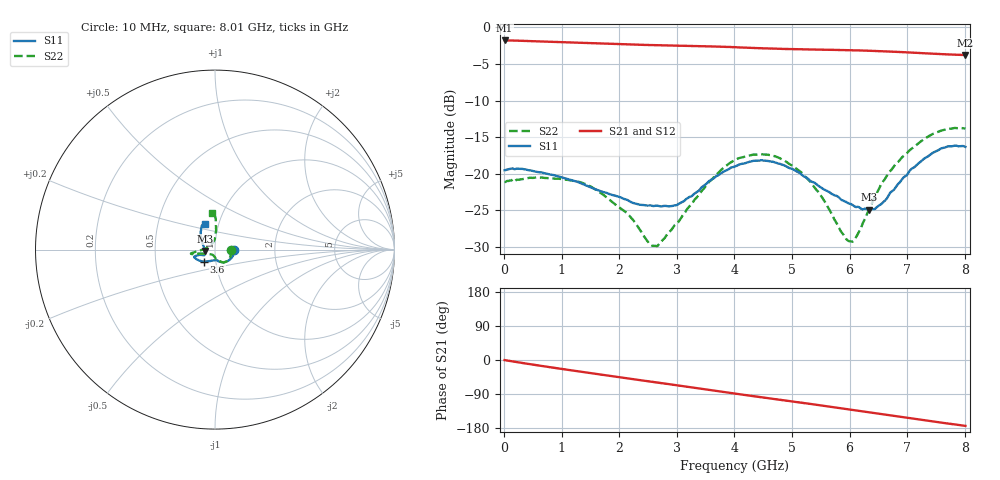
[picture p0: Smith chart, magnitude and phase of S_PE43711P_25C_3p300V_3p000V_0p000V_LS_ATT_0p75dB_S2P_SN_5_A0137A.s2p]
! Device ID: PE43711P
! File Path: z:\PE43711P\CHAR_NOM_04282014\AMB\3p300\LS_ATT_0p75dB\PE43711P_AMB_3p300V_3p000V_0p000V_LS_ATT_0p75dB_S2P_SN_5_A0137A.s2p
! Serial: 5
! Lot: A0137A
! Temp: 25C
! VDD: 3.300
! VSS: 0.000
! Control_Hi: 3.000
! Control_Lo: 0.000
! Attenuation Step: 0.75dB
! Port 1: RF1
! Port 2: RF2
! ThroughPath:1-2
! IDD: 0.0001272231
! ISS: -1.744e-007
#  Hz  S  RI  R  50
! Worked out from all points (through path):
!   801 points, 10 MHz to 8.01 GHz, reference 50 ohm
!   highest |S21| = -1.78 dB at 10 MHz (marker M1); lowest = -3.8 dB at 8.01 GHz (marker M2)
!   group delay of S21, straight-line fit = 59.8 ps
!   lowest |S11| = -24.9 dB at 6.34 GHz (marker M3), VSWR 1.12, Z = 44.7 - j0.742 ohm
!   |S11| at or under -10 dB: start of sweep to end of sweep
!   |S22| runs from -29.9 to -13.7 dB; largest |S21 - S12| = 0.0011
!   S11 on the Smith chart (normalised r, x): 10 MHz: 1.24, -0.00; 3.6 GHz: 0.88, -0.12; 8.01 GHz: 0.86, +0.25
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1e7  0.1056 -0.00058  0.8148 -0.00402  0.815 -0.00414  0.0878 -0.000727
5.7e8  0.093 -0.0443  0.78 -0.1917  0.7801 -0.1917  0.0836 -0.0437
1.35e9  0.0485 -0.0703  0.6701 -0.4072  0.6702 -0.4072  0.0483 -0.0723
2.12e9  0.0175 -0.0642  0.5125 -0.5697  0.5127 -0.5699  0.00625 -0.054
2.54e9  0.0107 -0.0598  0.4136 -0.6353  0.4139 -0.6355  -0.00953 -0.0314
2.68e9  0.00643 -0.0599  0.3794 -0.6539  0.3797 -0.6543  -0.0181 -0.0271
3.02e9  -0.0124 -0.0605  0.2914 -0.6924  0.2916 -0.693  -0.0395 -0.0243
3.6e9  -0.0614 -0.0669  0.1318 -0.7297  0.1322 -0.7305  -0.088 -0.0224
4.01e9  -0.097 -0.0565  0.0174 -0.7323  0.0171 -0.7329  -0.1216 -0.0249
4.35e9  -0.1139 -0.0456  -0.0733 -0.7197  -0.0736 -0.7203  -0.1332 -0.0232
4.69e9  -0.1136 -0.0386  -0.1598 -0.698  -0.16 -0.6982  -0.1307 -0.0198
5.03e9  -0.1012 -0.0333  -0.2417 -0.6678  -0.2421 -0.668  -0.111 -0.0134
5.35e9  -0.0832 -0.0286  -0.3165 -0.6314  -0.3167 -0.632  -0.0844 -0.0057
5.99e9  -0.0561 -0.0278  -0.4532 -0.5319  -0.4536 -0.5325  -0.0256 0.0233
6.1e9  -0.0543 -0.0238  -0.4741 -0.5108  -0.4745 -0.5115  -0.017 0.0319
6.34e9  -0.0562 -0.00828  -0.5161 -0.4619  -0.5163 -0.4626  -0.00275 0.0573
6.47e9  -0.0589 0.003  -0.5366 -0.4337  -0.5365 -0.4341  0.00223 0.0735
6.68e9  -0.0666 0.0268  -0.5654 -0.3863  -0.5651 -0.3866  0.00492 0.1018
7.07e9  -0.0793 0.0728  -0.6062 -0.2929  -0.6061 -0.293  0.0045 0.1477
7.44e9  -0.0777 0.115  -0.629 -0.2036  -0.6294 -0.2037  -0.00136 0.1866
7.7e9  -0.0719 0.1357  -0.6387 -0.1418  -0.6387 -0.1415  -0.0096 0.2023
8.01e9  -0.0537 0.143  -0.6439 -0.0698  -0.6445 -0.0689  -0.0148 0.2029
